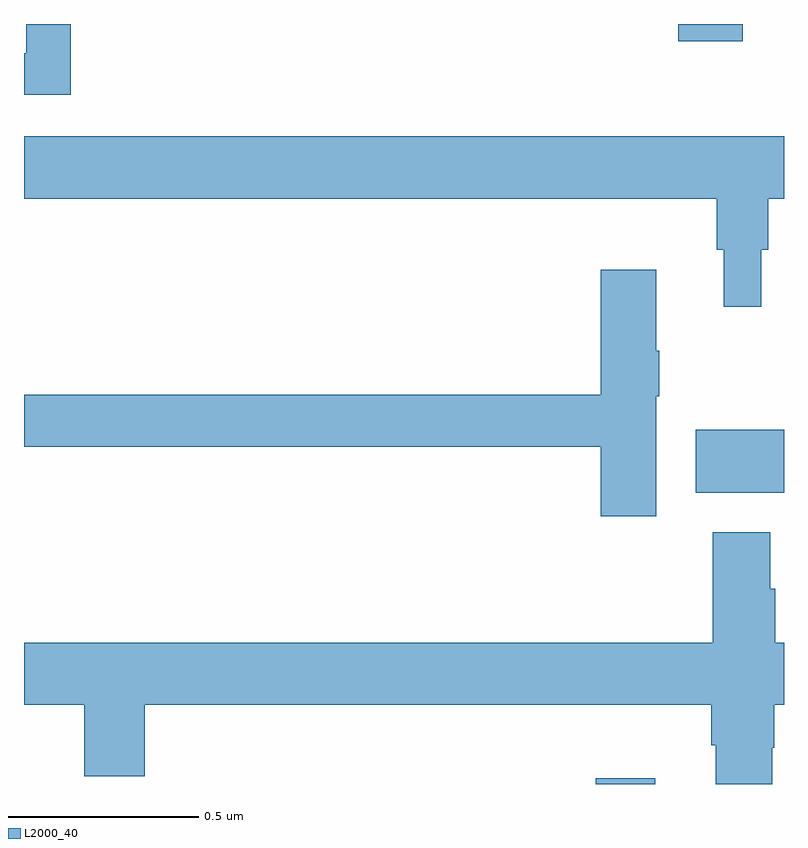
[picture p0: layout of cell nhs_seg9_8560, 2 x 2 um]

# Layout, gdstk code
import gdstk
lib = gdstk.Library(unit=1e-6, precision=1e-09)
def R(c, l, rs):  # rectangles x0, y0, x1, y1
    for r in rs: c.add(gdstk.rectangle(r[:2], r[2:], *l))
def P(c, l, *ps):  # polygons
    for p in ps: c.add(gdstk.Polygon(p, *l))
L2000_40 = (2000, 40)

nhs_seg9_8560 = lib.new_cell('nhs_seg9_8560')
R(nhs_seg9_8560, L2000_40, [(219.505,1241.5,219.661,1241.515), (219.768,1242.266,220,1242.432), (219.722,1243.455,219.892,1243.5)])
P(nhs_seg9_8560, L2000_40, [(218.123,1243.5),(218.006,1243.5),(218.006,1243.423),(218,1243.423),(218,1243.314),(218.123,1243.314)],
  [(219.94,1242.906),(219.959,1242.906),(219.959,1243.04),(220,1243.04),(220,1243.204),(218,1243.204),(218,1243.04),(219.823,1243.04),(219.823,1242.906),(219.842,1242.906),(219.842,1242.756),(219.94,1242.756)],
  [(219.664,1242.52),(219.672,1242.52),(219.672,1242.64),(219.664,1242.64),(219.664,1242.853),(219.518,1242.853),(219.518,1242.524),(218,1242.524),(218,1242.388),(219.518,1242.388),(219.518,1242.204),(219.664,1242.204)],
  [(219.969,1241.595),(219.974,1241.595),(219.974,1241.708),(220,1241.708),(220,1241.872),(219.977,1241.872),(219.977,1242.014),(219.964,1242.014),(219.964,1242.163),(219.812,1242.163),(219.812,1241.872),(218,1241.872),(218,1241.708),(218.158,1241.708),(218.158,1241.521),(218.318,1241.521),(218.318,1241.708),(219.809,1241.708),(219.809,1241.602),(219.821,1241.602),(219.821,1241.5),(219.969,1241.5)])

lib.write_gds('nhs_seg9_8560.gds')
